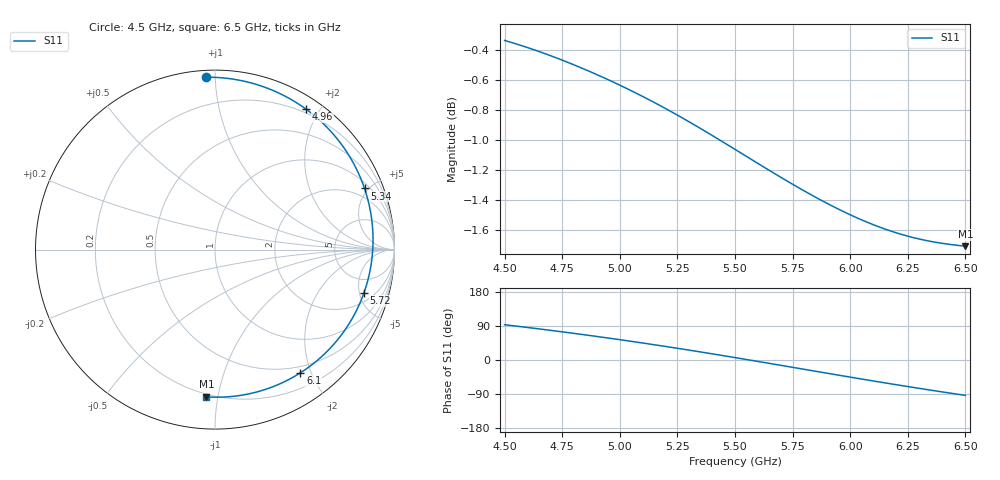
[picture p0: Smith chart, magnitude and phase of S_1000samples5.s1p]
! TOUCHSTONE file generated by CST MICROWAVE STUDIO
! Date and time: Wed Oct 26 16:13:46 2022
! Project name: L.cst
! Parameters = {Di=1.27; Epsilon_r=1.56; InnerDiameter=1.27; Length=2; Lf=10; Lg=60; OuterConductorThickness=0.2921; OuterDiameter=3.6; Wf=3; Wp=41.2; de=1.5; df=6.8; g=0.8; gx=3.11625; gy=3.28849; h=2.34; hf=1.524; px=9.30393; py=9.21577; w=9.7; wx=6.18768; wy=5.92728}
! Header version: 2018
! Port assignment regex: !\s*Touchstone port\s*([0-9]+)\s*=\s*(CST MWS port|CST DS port)\s*([0-9]+|Zmin|Zmax)\s*\(\"(.*)\"\)(\s*mode\s*([0-9]+))?.*
! Touchstone port assignment:
! Touchstone port 1 = CST MWS port 1 ("")
# GHz S DB R 50
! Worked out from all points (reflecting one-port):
!   101 points, 4.5 GHz to 6.5 GHz, reference 50 ohm
!   lowest |S11| = -1.7 dB at 6.5 GHz (marker M1), VSWR 10.22, Z = 9.17 - j46.3 ohm
!   phase of S11 starts at 93 deg and turns -186 deg over the sweep
!   S11 on the Smith chart (normalised r, x): 4.5 GHz: 0.04, +0.95; 4.96 GHz: 0.15, +1.83; 5.34 GHz: 1.32, +4.73; 5.72 GHz: 2.90, -5.53; 6.1 GHz: 0.40, -1.84; 6.5 GHz: 0.18, -0.93
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4.5  -0.34 93.1
4.58  -0.38 87.3
4.64  -0.41 82.8
4.76  -0.48 73.5
4.86  -0.54 65.4
4.96  -0.61 57.1
5  -0.64 53.6
5.12  -0.73 43.0
5.2  -0.79 35.6
5.26  -0.84 30.0
5.34  -0.91 22.2
5.42  -0.99 14.4
5.5  -1.06 6.4
5.6  -1.16 -3.8
5.66  -1.21 -10.0
5.72  -1.27 -16.2
5.76  -1.30 -20.4
5.82  -1.36 -26.6
5.88  -1.41 -32.8
5.94  -1.45 -39.0
6  -1.50 -45.2
6.1  -1.56 -55.3
6.18  -1.61 -63.3
6.26  -1.64 -71.0
6.32  -1.66 -76.8
6.38  -1.68 -82.4
6.44  -1.70 -87.9
6.5  -1.71 -93.4
